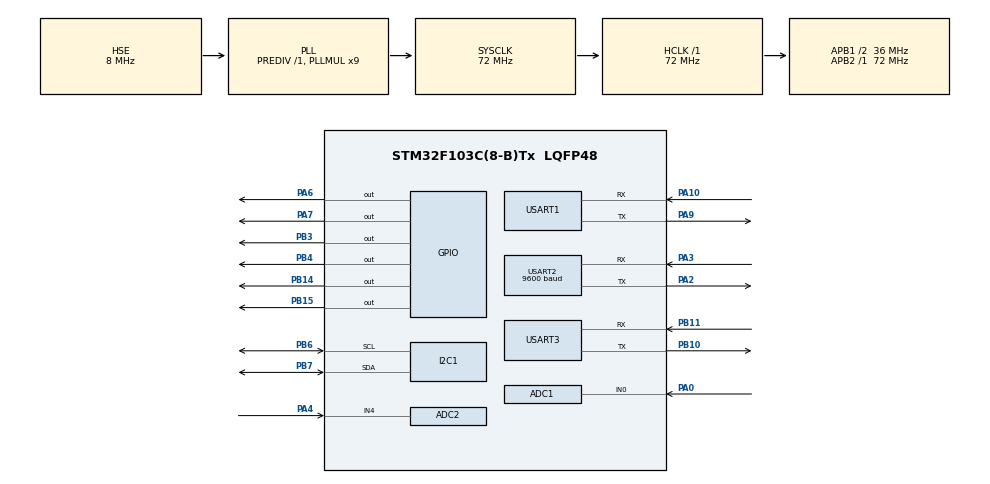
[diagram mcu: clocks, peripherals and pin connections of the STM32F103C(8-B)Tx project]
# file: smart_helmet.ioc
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ADC1.Channel-0\#ChannelRegularConversion=ADC_CHANNEL_0
ADC1.ContinuousConvMode=ENABLE
ADC1.NbrOfConversionFlag=1
ADC1.Rank-0\#ChannelRegularConversion=1
ADC1.SamplingTime-0\#ChannelRegularConversion=ADC_SAMPLETIME_1CYCLE_5
ADC1.master=1
ADC2.Channel-2\#ChannelRegularConversion=ADC_CHANNEL_4
ADC2.NbrOfConversionFlag=1
ADC2.Rank-2\#ChannelRegularConversion=1
ADC2.SamplingTime-2\#ChannelRegularConversion=ADC_SAMPLETIME_1CYCLE_5
Dma.ADC1.0.Direction=DMA_PERIPH_TO_MEMORY
Dma.ADC1.0.Instance=DMA1_Channel1
Dma.ADC1.0.MemDataAlignment=DMA_MDATAALIGN_WORD
Dma.ADC1.0.MemInc=DMA_MINC_ENABLE
Dma.ADC1.0.Mode=DMA_CIRCULAR
Dma.ADC1.0.PeriphDataAlignment=DMA_PDATAALIGN_WORD
Dma.ADC1.0.PeriphInc=DMA_PINC_DISABLE
Dma.ADC1.0.Priority=DMA_PRIORITY_LOW
Dma.Request0=ADC1
Dma.Request1=USART2_RX
Dma.Request2=USART3_RX
Dma.USART2_RX.1.Direction=DMA_PERIPH_TO_MEMORY
Dma.USART2_RX.1.Instance=DMA1_Channel6
Dma.USART2_RX.1.MemDataAlignment=DMA_MDATAALIGN_BYTE
Dma.USART2_RX.1.MemInc=DMA_MINC_ENABLE
Dma.USART2_RX.1.Mode=DMA_NORMAL
Dma.USART2_RX.1.PeriphDataAlignment=DMA_PDATAALIGN_BYTE
Dma.USART2_RX.1.PeriphInc=DMA_PINC_DISABLE
Dma.USART2_RX.1.Priority=DMA_PRIORITY_HIGH
Dma.USART3_RX.2.Direction=DMA_PERIPH_TO_MEMORY
Dma.USART3_RX.2.Instance=DMA1_Channel3
Dma.USART3_RX.2.MemDataAlignment=DMA_MDATAALIGN_BYTE
Dma.USART3_RX.2.MemInc=DMA_MINC_ENABLE
Dma.USART3_RX.2.Mode=DMA_NORMAL
Dma.USART3_RX.2.PeriphDataAlignment=DMA_PDATAALIGN_BYTE
Dma.USART3_RX.2.PeriphInc=DMA_PINC_DISABLE
Dma.USART3_RX.2.Priority=DMA_PRIORITY_LOW
I2C1.I2C_Mode=I2C_Fast
Mcu.Family=STM32F1
Mcu.Name=STM32F103C(8-B)Tx
Mcu.Package=LQFP48
NVIC.DMA1_Channel1_IRQn=true\:0\:0\:false\:false\:true\:false\:true\:true
NVIC.DMA1_Channel3_IRQn=true\:0\:0\:false\:false\:true\:false\:true\:true
NVIC.DMA1_Channel6_IRQn=true\:0\:0\:false\:false\:true\:false\:true\:true
NVIC.PriorityGroup=NVIC_PRIORITYGROUP_4
NVIC.USART1_IRQn=true\:1\:0\:true\:false\:true\:true\:true\:true
NVIC.USART2_IRQn=true\:1\:0\:true\:false\:true\:true\:true\:true
NVIC.USART3_IRQn=true\:1\:0\:true\:false\:true\:true\:true\:true
PA0-WKUP.Signal=ADCx_IN0
PA10.Mode=Asynchronous
PA10.Signal=USART1_RX
PA13.Mode=Serial_Wire
PA13.Signal=SYS_JTMS-SWDIO
PA14.Mode=Serial_Wire
PA14.Signal=SYS_JTCK-SWCLK
PA2.Mode=Asynchronous
PA2.Signal=USART2_TX
PA3.Mode=Asynchronous
PA3.Signal=USART2_RX
PA4.Signal=ADCx_IN4
PA6.GPIO_PuPd=GPIO_PULLUP
PA6.PinState=GPIO_PIN_SET
PA6.Signal=GPIO_Output
PA7.GPIO_PuPd=GPIO_PULLUP
PA7.PinState=GPIO_PIN_SET
PA7.Signal=GPIO_Output
PA9.Mode=Asynchronous
PA9.Signal=USART1_TX
PB10.Mode=Asynchronous
PB10.Signal=USART3_TX
PB11.Mode=Asynchronous
PB11.Signal=USART3_RX
PB14.GPIO_ModeDefaultOutputPP=GPIO_MODE_OUTPUT_OD
PB14.GPIO_PuPd=GPIO_PULLUP
PB14.PinState=GPIO_PIN_SET
PB14.Signal=GPIO_Output
PB15.GPIO_ModeDefaultOutputPP=GPIO_MODE_OUTPUT_OD
PB15.GPIO_PuPd=GPIO_PULLUP
PB15.PinState=GPIO_PIN_SET
PB15.Signal=GPIO_Output
PB3.GPIO_PuPd=GPIO_PULLDOWN
PB3.PinState=GPIO_PIN_RESET
PB3.Signal=GPIO_Output
PB4.GPIO_PuPd=GPIO_PULLDOWN
PB4.Signal=GPIO_Output
PB6.Mode=I2C
PB6.Signal=I2C1_SCL
PB7.Mode=I2C
PB7.Signal=I2C1_SDA
PD0-OSC_IN.Mode=HSE-External-Oscillator
PD0-OSC_IN.Signal=RCC_OSC_IN
PD1-OSC_OUT.Mode=HSE-External-Oscillator
PD1-OSC_OUT.Signal=RCC_OSC_OUT
ProjectManager.HeapSize=0x200
ProjectManager.StackSize=0x400
ProjectManager.TargetToolchain=MDK-ARM V5.32
RCC.ADCPresc=RCC_ADCPCLK2_DIV6
RCC.AHBFreq_Value=72000000
RCC.APB1CLKDivider=RCC_HCLK_DIV2
RCC.APB1Freq_Value=36000000
RCC.APB1TimFreq_Value=72000000
RCC.APB2Freq_Value=72000000
RCC.APB2TimFreq_Value=72000000
RCC.HCLKFreq_Value=72000000
RCC.PLLMUL=RCC_PLL_MUL9
RCC.PLLSourceVirtual=RCC_PLLSOURCE_HSE
RCC.SYSCLKFreq_VALUE=72000000
RCC.SYSCLKSource=RCC_SYSCLKSOURCE_PLLCLK
RCC.USBFreq_Value=72000000
SH.ADCx_IN0.0=ADC1_IN0,IN0
SH.ADCx_IN4.0=ADC2_IN4,IN4
TIM2.Prescaler=72-1
USART1.VirtualMode=VM_ASYNC
USART2.BaudRate=9600
USART2.VirtualMode=VM_ASYNC
USART3.VirtualMode=VM_ASYNC
VP_TIM2_VS_ClockSourceINT.Mode=Internal
board=custom

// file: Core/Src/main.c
/* USER CODE BEGIN Header */
/**
  ******************************************************************************
  * @file           : main.c
  * @brief          : Main program body
  ******************************************************************************
  * @attention
  *
  * Copyright (c) 2026 STMicroelectronics.
  * All rights reserved.
  *
  * This software is licensed under terms that can be found in the LICENSE file
  * in the root directory of this software component.
  * If no LICENSE file comes with this software, it is provided AS-IS.
  *
  ******************************************************************************
  */
/* USER CODE END Header */
#include "main.h"
#include "adc.h"
#include "dma.h"
#include "i2c.h"
#include "tim.h"
#include "usart.h"
#include "gpio.h"

/* USER CODE BEGIN Includes */

#include "bsp_system.h"

/* USER CODE END Includes */

void SystemClock_Config(void);

int main(void)
{

  /* MCU Configuration--------------------------------------------------------*/

  /* Reset of all peripherals, Initializes the Flash interface and the Systick. */
  HAL_Init();

  /* Configure the system clock */
  SystemClock_Config();

  /* Initialize all configured peripherals */
  MX_GPIO_Init();
  MX_DMA_Init();
  MX_USART1_UART_Init();
  MX_ADC1_Init();
  MX_TIM2_Init();
  MX_I2C1_Init();
  MX_USART2_UART_Init();
  MX_USART3_UART_Init();
  MX_ADC2_Init();
  /* USER CODE BEGIN 2 */
	HAL_ADCEx_Calibration_Start(&hadc2);  // ADC2校准（必须，否则可能读到0）
	delay_init();

	DHT11_Init();
	mq2_init();

	MPU_Init();
	mpu_dmp_init();

	MAX30102_Init();

	atgm336h_init();

	oled_init();

	AlarmQueue_Init(&g_alarm_queue);  // 初始化报警队列

	asrpro_init();

	ESP_Init();

	Device_Init();
	control_init();

	scheduler_init();

	OLED_BootAnimation();

//	printf("Init OK \r\n");
//	my_printf(&huart1, "very ok !\r\n");

  /* USER CODE END 2 */

  /* Infinite loop */
  /* USER CODE BEGIN WHILE */
  while (1)
  {

	  scheduler_run();

    /* USER CODE END WHILE */

  }
}

void SystemClock_Config(void)
{
  RCC_OscInitTypeDef RCC_OscInitStruct = {0};
  RCC_ClkInitTypeDef RCC_ClkInitStruct = {0};
  RCC_PeriphCLKInitTypeDef PeriphClkInit = {0};

  /** Initializes the RCC Oscillators according to the specified parameters
  * in the RCC_OscInitTypeDef structure.
  */
  RCC_OscInitStruct.OscillatorType = RCC_OSCILLATORTYPE_HSE;
  RCC_OscInitStruct.HSEState = RCC_HSE_ON;
  RCC_OscInitStruct.HSEPredivValue = RCC_HSE_PREDIV_DIV1;
  RCC_OscInitStruct.HSIState = RCC_HSI_ON;
  RCC_OscInitStruct.PLL.PLLState = RCC_PLL_ON;
  RCC_OscInitStruct.PLL.PLLSource = RCC_PLLSOURCE_HSE;
  RCC_OscInitStruct.PLL.PLLMUL = RCC_PLL_MUL9;
  if (HAL_RCC_OscConfig(&RCC_OscInitStruct) != HAL_OK)
  {
    Error_Handler();
  }

  /** Initializes the CPU, AHB and APB buses clocks
  */
  RCC_ClkInitStruct.ClockType = RCC_CLOCKTYPE_HCLK|RCC_CLOCKTYPE_SYSCLK
                              |RCC_CLOCKTYPE_PCLK1|RCC_CLOCKTYPE_PCLK2;
  RCC_ClkInitStruct.SYSCLKSource = RCC_SYSCLKSOURCE_PLLCLK;
  RCC_ClkInitStruct.AHBCLKDivider = RCC_SYSCLK_DIV1;
  RCC_ClkInitStruct.APB1CLKDivider = RCC_HCLK_DIV2;
  RCC_ClkInitStruct.APB2CLKDivider = RCC_HCLK_DIV1;

  if (HAL_RCC_ClockConfig(&RCC_ClkInitStruct, FLASH_LATENCY_2) != HAL_OK)
  {
    Error_Handler();
  }
  PeriphClkInit.PeriphClockSelection = RCC_PERIPHCLK_ADC;
  PeriphClkInit.AdcClockSelection = RCC_ADCPCLK2_DIV6;
  if (HAL_RCCEx_PeriphCLKConfig(&PeriphClkInit) != HAL_OK)
  {
    Error_Handler();
  }
}

void Error_Handler(void)
{
  __disable_irq();
  while (1)
  {
  }
}
